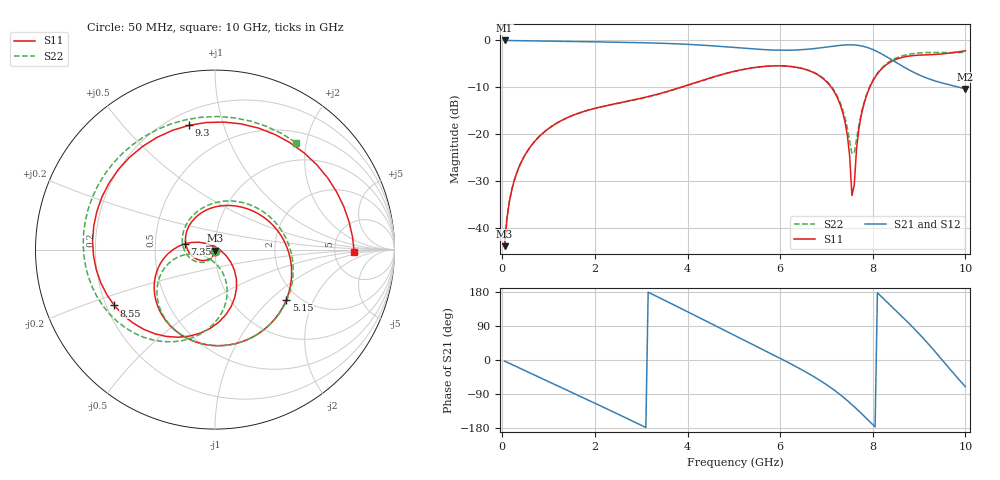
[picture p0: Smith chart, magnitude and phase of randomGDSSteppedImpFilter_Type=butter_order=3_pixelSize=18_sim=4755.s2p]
! freq	dB(S11)	phase(S11)	dB(S12)	phase(S12)
!  dB(S21)	phase(S21)	dB(S22)	phase(S22)
!S-par simulation data
#  GHz  S  DB  R 50
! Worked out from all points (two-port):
!   200 points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, 50 MHz to 10 GHz, reference 50 ohm
!   highest |S21| = 0.00 dB at 50 MHz (marker M1); lowest = -10.3 dB at 10 GHz (marker M2)
!   |S21| within 3 dB of the highest: start of sweep to 8.215 GHz
!   lowest |S11| = -43.8 dB at 50 MHz (marker M3), VSWR 1.01, Z = 50 - j0.645 ohm
!   |S11| at or under -10 dB: start of sweep to 3.848 GHz; 7.105 GHz to 7.934 GHz (829.3 MHz wide, 11 % of centre)
!   |S22| runs from -43.8 to -2.5 dB; largest |S21 - S12| = 0
!   S11 on the Smith chart (normalised r, x): 50 MHz: 1.00, -0.01; 5.15 GHz: 1.73, -1.27; 7.35 GHz: 0.71, +0.05; 8.55 GHz: 0.23, -0.25; 9.3 GHz: 0.28, +0.77; 10 GHz: 7.89, -0.46
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0.05  -43.81 -90.7  -0.00 -2.9  -0.00 -2.9  -43.80 -90.1
0.2  -32.01 -101.8  -0.02 -11.5  -0.02 -11.5  -32.00 -99.8
0.5  -24.23 -121.4  -0.06 -28.6  -0.06 -28.6  -24.22 -116.3
1.15  -17.77 -162.3  -0.15 -65.6  -0.15 -65.6  -17.76 -150.5
1.75  -15.15 160.4  -0.26 -99.7  -0.26 -99.7  -15.17 178.1
2.65  -13.05 105.8  -0.41 -151.6  -0.41 -151.6  -13.10 128.7
3.4  -11.32 62.8  -0.59 163.9  -0.59 163.9  -11.37 82.8
4.25  -8.72 15.9  -0.96 112.0  -0.96 112.0  -8.77 26.6
5.05  -6.48 -29.4  -1.54 62.6  -1.54 62.6  -6.51 -25.9
5.15  -6.27 -35.2  -1.62 56.5  -1.62 56.5  -6.30 -32.3
5.95  -5.40 -82.4  -2.07 7.4  -2.07 7.4  -5.40 -82.0
6.7  -6.74 -131.9  -1.78 -41.9  -1.78 -41.9  -6.68 -129.2
7.35  -15.31 169.3  -1.00 -96.8  -1.00 -96.8  -14.70 -170.1
7.5  -24.48 145.0  -0.93 -112.3  -0.93 -112.3  -21.39 -159.7
7.55  -33.02 110.3  -0.94 -117.7  -0.94 -117.7  -24.06 -137.4
7.8  -13.87 -53.9  -1.27 -146.5  -1.27 -146.5  -13.62 -71.5
8.35  -4.79 -125.5  -3.77 147.8  -3.77 147.8  -4.58 -119.7
8.55  -3.85 -151.0  -4.96 124.3  -4.96 124.3  -3.57 -138.9
8.9  -3.20 162.1  -6.87 81.9  -6.87 81.9  -2.77 -172.4
9.3  -3.01 101.9  -8.48 28.6  -8.48 28.6  -2.57 145.7
9.7  -2.64 39.8  -9.56 -28.9  -9.56 -28.9  -2.60 95.6
10  -2.21 -0.9  -10.31 -70.4  -10.31 -70.4  -2.52 52.8
